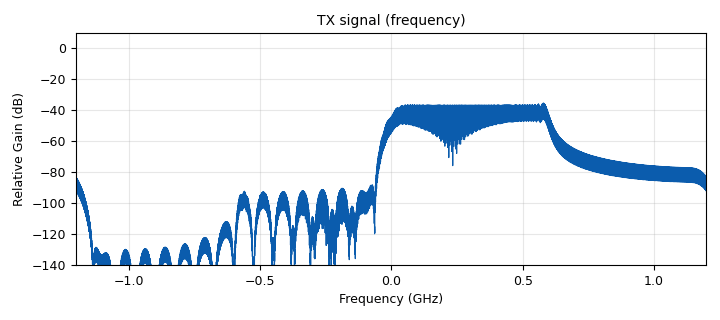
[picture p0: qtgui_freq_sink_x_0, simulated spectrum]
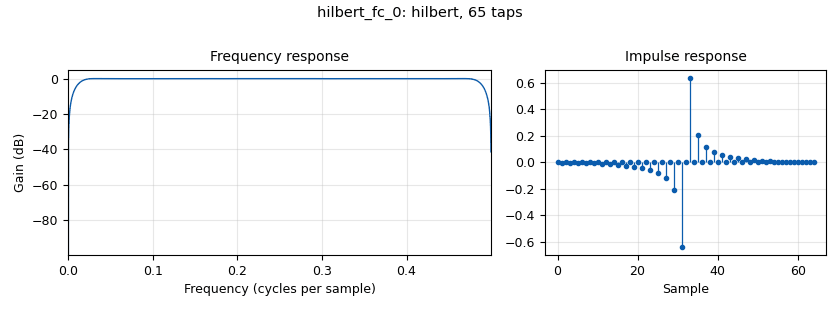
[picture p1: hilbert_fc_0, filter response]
options:
  parameters:
    author: Timon Petermann, Lisa Elsner
    copyright: Timon Petermann, Lisa Elsner
    generate_options: qt_gui
    id: chirp_radar_tx_rx
    output_language: python
    title: Chirp Radar
  states: {}

blocks:
- name: PRF
  id: variable
  parameters:
    value: 1e6
  states: {}
- name: bw
  id: variable
  parameters:
    value: '6'
  states: {}
- name: fft_size
  id: variable
  parameters:
    value: int(8192*8)
  states: {}
- name: samp_rate
  id: variable
  parameters:
    value: 600000000*4
  states: {}
- name: analog_sig_source_x_0
  id: analog_sig_source_x
  parameters:
    amp: '1'
    freq: PRF
    offset: '0'
    phase: '0'
    samp_rate: samp_rate
    type: float
    waveform: analog.GR_SAW_WAVE
  states: {}
- name: blocks_complex_to_real_0
  id: blocks_complex_to_real
  parameters: {}
  states: {}
- name: blocks_complex_to_real_0_0
  id: blocks_complex_to_real
  parameters: {}
  states: {}
- name: blocks_multiply_xx_0
  id: blocks_multiply_xx
  parameters:
    type: float
  states: {}
- name: blocks_stream_to_vector_0
  id: blocks_stream_to_vector
  parameters:
    num_items: fft_size
    type: float
  states: {}
- name: blocks_vco_f_0
  id: blocks_vco_f
  parameters:
    amplitude: '1'
    samp_rate: samp_rate
    sensitivity: int(bw*628000000)
  states: {}
- name: chirp_radar_max_freq_peak_detector_ff_0
  id: chirp_radar_max_freq_peak_detector_ff
  parameters:
    f_max: '20000000'
    fft_size: fft_size
    sampling_rate: samp_rate
  states: {}
- name: chirp_radar_range_calc_ff_0
  id: chirp_radar_range_calc_ff
  parameters:
    bandwidth: bw*1e8
    chirp_period: 1/PRF
  states: {}
- name: hilbert_fc_0
  id: hilbert_fc
  parameters:
    num_taps: '64'
    win: firdes.WIN_HAMMING
  states: {}
- name: iio_pluto_sink_0
  id: iio_pluto_sink
  parameters:
    attenuation1: '1.0'
    auto_filter: 'True'
    bandwidth: '52000000'
    buffer_size: '32768'
    cyclic: 'False'
    frequency: int(2000*1e6)
    samplerate: '61440000'
  states: {}
- name: iio_pluto_source_0
  id: iio_pluto_source
  parameters:
    auto_filter: 'True'
    bandwidth: '52000000'
    bbdc: 'True'
    buffer_size: '32768'
    frequency: int(4.8*1e9)
    gain1: '''fast_attack'''
    quadrature: 'True'
    rfdc: 'True'
    samplerate: '61440000'
  states: {}
- name: qtgui_freq_sink_x_0
  id: qtgui_freq_sink_x
  parameters:
    bw: samp_rate
    fc: '0'
    fftsize: '10240'
    name: '"TX signal (frequency)"'
    type: complex
    wintype: firdes.WIN_BLACKMAN_hARRIS
  states: {}
- name: qtgui_freq_sink_x_1_0
  id: qtgui_freq_sink_x
  parameters:
    bw: samp_rate
    fc: '0'
    fftsize: '16383'
    name: '"Beat Singal (frequency)"'
    type: float
    wintype: firdes.WIN_BLACKMAN_hARRIS
  states: {}
- name: qtgui_time_sink_x_0
  id: qtgui_time_sink_x
  parameters:
    name: '"Beat Signal (time)"'
    size: '10240'
    srate: samp_rate
    type: float
  states: {}
- name: qtgui_time_sink_x_0_0
  id: qtgui_time_sink_x
  parameters:
    autoscale: 'True'
    grid: 'True'
    name: '"Range"'
    size: '10'
    srate: samp_rate/fft_size
    type: float
    ylabel: Distance
  states: {}

connections:
- [analog_sig_source_x_0, '0', blocks_vco_f_0, '0']
- [blocks_complex_to_real_0, '0', blocks_multiply_xx_0, '0']
- [blocks_complex_to_real_0_0, '0', blocks_multiply_xx_0, '1']
- [blocks_multiply_xx_0, '0', blocks_stream_to_vector_0, '0']
- [blocks_multiply_xx_0, '0', qtgui_freq_sink_x_1_0, '0']
- [blocks_multiply_xx_0, '0', qtgui_time_sink_x_0, '0']
- [blocks_stream_to_vector_0, '0', chirp_radar_max_freq_peak_detector_ff_0, '0']
- [blocks_vco_f_0, '0', hilbert_fc_0, '0']
- [chirp_radar_max_freq_peak_detector_ff_0, '0', chirp_radar_range_calc_ff_0, '0']
- [chirp_radar_range_calc_ff_0, '0', qtgui_time_sink_x_0_0, '0']
- [hilbert_fc_0, '0', blocks_complex_to_real_0, '0']
- [hilbert_fc_0, '0', iio_pluto_sink_0, '0']
- [hilbert_fc_0, '0', qtgui_freq_sink_x_0, '0']
- [iio_pluto_source_0, '0', blocks_complex_to_real_0_0, '0']

metadata:
  file_format: 1
